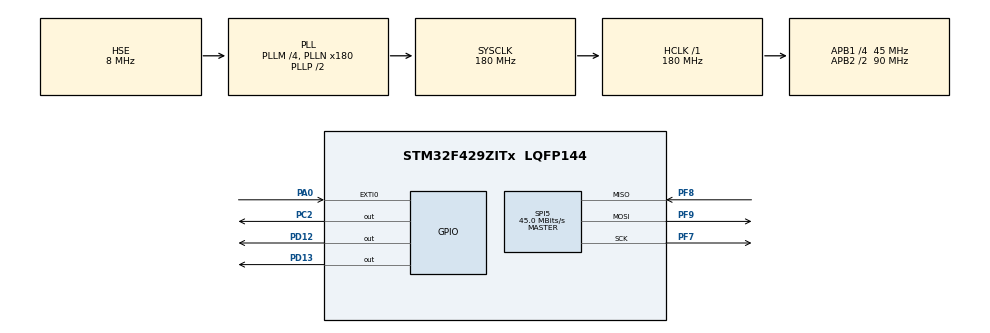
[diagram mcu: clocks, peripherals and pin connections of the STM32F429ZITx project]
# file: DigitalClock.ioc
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Mcu.Family=STM32F4
Mcu.Name=STM32F429ZITx
Mcu.Package=LQFP144
NVIC.EXTI0_IRQn=true\:0\:0\:false\:false\:true\:true\:true\:true
NVIC.PriorityGroup=NVIC_PRIORITYGROUP_4
PA0/WKUP.GPIO_ModeDefaultEXTI=GPIO_MODE_IT_RISING
PA0/WKUP.Signal=GPXTI0
PC2.Signal=GPIO_Output
PD12.Signal=GPIO_Output
PD13.Signal=GPIO_Output
PF7.Mode=Full_Duplex_Master
PF7.Signal=SPI5_SCK
PF8.Mode=Full_Duplex_Master
PF8.Signal=SPI5_MISO
PF9.Mode=Full_Duplex_Master
PF9.Signal=SPI5_MOSI
PH0/OSC_IN.Mode=HSE-External-Oscillator
PH0/OSC_IN.Signal=RCC_OSC_IN
PH1/OSC_OUT.Mode=HSE-External-Oscillator
PH1/OSC_OUT.Signal=RCC_OSC_OUT
ProjectManager.HeapSize=0x200
ProjectManager.StackSize=0x400
ProjectManager.TargetToolchain=CMake
RCC.48MHZClocksFreq_Value=90000000
RCC.AHBFreq_Value=180000000
RCC.APB1CLKDivider=RCC_HCLK_DIV4
RCC.APB1Freq_Value=45000000
RCC.APB1TimFreq_Value=90000000
RCC.APB2CLKDivider=RCC_HCLK_DIV2
RCC.APB2Freq_Value=90000000
RCC.APB2TimFreq_Value=180000000
RCC.CortexFreq_Value=180000000
RCC.HCLKFreq_Value=180000000
RCC.HSE_VALUE=8000000
RCC.HSI_VALUE=16000000
RCC.LSE_VALUE=32768
RCC.PLLM=4
RCC.PLLN=180
RCC.PLLSourceVirtual=RCC_PLLSOURCE_HSE
RCC.SYSCLKFreq_VALUE=180000000
RCC.SYSCLKSource=RCC_SYSCLKSOURCE_PLLCLK
RCC.VCOOutputFreq_Value=360000000
RTC.SynchPrediv=249
SPI5.CalculateBaudRate=45.0 MBits/s
SPI5.Direction=SPI_DIRECTION_2LINES
SPI5.Mode=SPI_MODE_MASTER
SPI5.VirtualType=VM_MASTER
VP_RTC_VS_RTC_Activate.Mode=RTC_Enabled
board=custom

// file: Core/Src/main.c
/* USER CODE BEGIN Header */
/**
  ******************************************************************************
  * @file           : main.c
  * @brief          : Main program body
  ******************************************************************************
  * @attention
  *
  * Copyright (c) 2026 STMicroelectronics.
  * All rights reserved.
  *
  * This software is licensed under terms that can be found in the LICENSE file
  * in the root directory of this software component.
  * If no LICENSE file comes with this software, it is provided AS-IS.
  *
  ******************************************************************************
  */
/* USER CODE END Header */
#include "main.h"

/* USER CODE BEGIN Includes */
#include <stdio.h>
#include "ILI9341_GFX.h"
#include "ILI9341_STM32_Driver.h"
#include "fonts.h"
/* USER CODE END Includes */

/* USER CODE BEGIN PD */
#define CLOCK_RUN_MS       10000U
#define CLOCK_SLEEP_MS     10000U
#define CLOCK_POLL_MS      20U
#define CLOCK_TEXT_X       12U
#define CLOCK_WEEKDAY_Y    40U
#define CLOCK_DATE_Y       112U
#define CLOCK_TIME_Y       176U
#define CLOCK_FONT_SCALE   2U
/* USER CODE END PD */

RTC_HandleTypeDef hrtc;

SPI_HandleTypeDef hspi5;

/* USER CODE BEGIN PV */
static volatile uint32_t lastActivityTick;

/* USER CODE END PV */

void SystemClock_Config(void);
static void MX_GPIO_Init(void);
static void MX_SPI5_Init(void);
static void MX_RTC_Init(void);

/* USER CODE BEGIN 0 */

static void Clock_SetInitialDateTime(void)
{
  RTC_DateTypeDef date = {0};
  RTC_TimeTypeDef time = {0};

  /* RTC_FORMAT_BIN requires decimal month 11, not RTC_MONTH_NOVEMBER (0x11). */
  date.Year = 26;
  date.Month = 11;
  date.Date = 6;
  date.WeekDay = RTC_WEEKDAY_FRIDAY;
  if (HAL_RTC_SetDate(&hrtc, &date, RTC_FORMAT_BIN) != HAL_OK)
  {
    Error_Handler();
  }

  time.Hours = 7;
  time.Minutes = 37;
  time.Seconds = 16;
  time.DayLightSaving = RTC_DAYLIGHTSAVING_NONE;
  time.StoreOperation = RTC_STOREOPERATION_RESET;
  if (HAL_RTC_SetTime(&hrtc, &time, RTC_FORMAT_BIN) != HAL_OK)
  {
    Error_Handler();
  }
}

static void Clock_DrawDate(const RTC_DateTypeDef *date)
{
  static const char * const weekdays[] = {
    "Monday", "Tuesday", "Wednesday", "Thursday",
    "Friday", "Saturday", "Sunday"
  };
  char text[11];

  if ((date->WeekDay < RTC_WEEKDAY_MONDAY) || (date->WeekDay > RTC_WEEKDAY_SUNDAY))
  {
    Error_Handler();
    return;
  }

  int length = snprintf(text, sizeof(text), "%u/%u/%04u",
                        (unsigned int)date->Date,
                        (unsigned int)date->Month,
                        2000U + (unsigned int)date->Year);
  if ((length < 0) || ((size_t)length >= sizeof(text)))
  {
    Error_Handler();
    return;
  }

  uint16_t lineHeight = (uint16_t)FONT4[2] * CLOCK_FONT_SCALE;
  ILI9341_DrawRectangle(0, CLOCK_WEEKDAY_Y - 8U, LCD_WIDTH, lineHeight + 16U, LIGHTGREY);
  ILI9341_DrawTextScaled(weekdays[date->WeekDay - RTC_WEEKDAY_MONDAY], FONT4,
                         70, CLOCK_WEEKDAY_Y, BLACK, LIGHTGREY, CLOCK_FONT_SCALE);
  ILI9341_DrawRectangle(0, CLOCK_DATE_Y, LCD_WIDTH, lineHeight, BLACK);
  ILI9341_DrawTextScaled(text, FONT4, 40, CLOCK_DATE_Y,
                         WHITE, BLACK, CLOCK_FONT_SCALE);
}

static void Clock_DrawTime(const RTC_TimeTypeDef *time, char previousText[9], uint8_t fullRedraw)
{
  char text[9];
  int length = snprintf(text, sizeof(text), "%02u:%02u:%02u",
                        (unsigned int)time->Hours,
                        (unsigned int)time->Minutes,
                        (unsigned int)time->Seconds);
  if ((length < 0) || ((size_t)length >= sizeof(text)))
  {
    Error_Handler();
    return;
  }

  uint16_t x = 55;
  for (uint8_t i = 0; i < 8; i++)
  {
    if (fullRedraw || text[i] != previousText[i])
    {
      ILI9341_DrawCharScaled(text[i], FONT4, x, CLOCK_TIME_Y,
                             WHITE, BLACK, CLOCK_FONT_SCALE);
      previousText[i] = text[i];
    }
    x += ILI9341_GetCharAdvance(text[i], FONT4, CLOCK_FONT_SCALE);
  }
  previousText[8] = '\0';
}

static void Clock_UpdateDisplay(uint8_t fullRedraw)
{
  static RTC_DateTypeDef previousDate;
  static RTC_TimeTypeDef previousTime;
  static char previousText[9];
  RTC_TimeTypeDef time = {0};
  RTC_DateTypeDef date = {0};

  /* Reading the date releases the RTC shadow registers after a time read. */
  if (HAL_RTC_GetTime(&hrtc, &time, RTC_FORMAT_BIN) != HAL_OK ||
      HAL_RTC_GetDate(&hrtc, &date, RTC_FORMAT_BIN) != HAL_OK)
  {
    Error_Handler();
  }

  if (fullRedraw || date.Date != previousDate.Date || date.Month != previousDate.Month ||
      date.Year != previousDate.Year || date.WeekDay != previousDate.WeekDay)
  {
    Clock_DrawDate(&date);
    previousDate = date;
  }
  if (fullRedraw || time.Hours != previousTime.Hours ||
      time.Minutes != previousTime.Minutes || time.Seconds != previousTime.Seconds)
  {
    Clock_DrawTime(&time, previousText, fullRedraw);
    previousTime = time;
  }
}

static void Clock_TryStandby(uint32_t activityTick)
{
  ILI9341_DrawRectangle(0, 0, LCD_WIDTH, LCD_HEIGHT, BLACK);
  ILI9341_DrawTextScaled("Standby..", FONT4, CLOCK_TEXT_X, CLOCK_DATE_Y,
                         WHITE, BLACK, CLOCK_FONT_SCALE);
  ILI9341_DrawText("Press PA0 to wake up", FONT3, CLOCK_TEXT_X, CLOCK_TIME_Y, WHITE, BLACK);

  /* A press during the SPI transfer or while arming WKUP must still count. */
  __disable_irq();
  __HAL_PWR_CLEAR_FLAG(PWR_FLAG_WU);
  HAL_PWR_EnableWakeUpPin(PWR_WAKEUP_PIN1);
  if (lastActivityTick == activityTick && HAL_GPIO_ReadPin(GPIOA, GPIO_PIN_0) == GPIO_PIN_RESET &&
      __HAL_GPIO_EXTI_GET_IT(GPIO_PIN_0) == RESET)
  {
    HAL_SuspendTick();
    SCB->ICSR = SCB_ICSR_PENDSTCLR_Msk;
    __DSB();
    HAL_PWR_EnterSTANDBYMode();
    /* A pending interrupt can prevent WFI from entering Standby. */
    CLEAR_BIT(SCB->SCR, SCB_SCR_SLEEPDEEP_Msk);
    HAL_ResumeTick();
  }
  HAL_PWR_DisableWakeUpPin(PWR_WAKEUP_PIN1);
  __enable_irq();
}

/* USER CODE END 0 */

int main(void)
{

  /* MCU Configuration--------------------------------------------------------*/

  /* Reset of all peripherals, Initializes the Flash interface and the Systick. */
  HAL_Init();

  /* Configure the system clock */
  SystemClock_Config();

  /* Initialize all configured peripherals */
  MX_GPIO_Init();
  MX_SPI5_Init();
  MX_RTC_Init();
  /* USER CODE BEGIN 2 */
  HAL_PWR_DisableWakeUpPin(PWR_WAKEUP_PIN1);
  if (__HAL_RTC_IS_CALENDAR_INITIALIZED(&hrtc) == 0U ||
      (__HAL_RCC_GET_FLAG(RCC_FLAG_PORRST) && !__HAL_PWR_GET_FLAG(PWR_FLAG_SB)))
  {
    Clock_SetInitialDateTime();
  }
  __HAL_PWR_CLEAR_FLAG(PWR_FLAG_SB);
  __HAL_RCC_CLEAR_RESET_FLAGS();

  ILI9341_Init();
  ILI9341_DrawRectangle(0, 0, LCD_WIDTH, LCD_HEIGHT, BLACK);
  Clock_UpdateDisplay(1);
  lastActivityTick = HAL_GetTick();
  uint32_t lastPoll = lastActivityTick;
  /* USER CODE END 2 */

  /* Infinite loop */
  /* USER CODE BEGIN WHILE */
  while (1)
  {
    uint32_t activityTick = lastActivityTick;
    uint32_t now = HAL_GetTick();
    uint32_t idle = now - activityTick;

    if (idle >= CLOCK_RUN_MS + CLOCK_SLEEP_MS && HAL_GPIO_ReadPin(GPIOA, GPIO_PIN_0) == GPIO_PIN_RESET)
    {
      Clock_TryStandby(activityTick);
      /* A successful Standby wake restarts main. A cancelled entry returns here. */
      ILI9341_DrawRectangle(0, 0, LCD_WIDTH, LCD_HEIGHT, BLACK);
      Clock_UpdateDisplay(1);
      lastPoll = HAL_GetTick();
      continue;
    }

    if (now - lastPoll >= CLOCK_POLL_MS)
    {
      Clock_UpdateDisplay(0);
      lastPoll = now;
    }

    if (idle >= CLOCK_RUN_MS)
    {
      HAL_PWR_EnterSLEEPMode(PWR_MAINREGULATOR_ON, PWR_SLEEPENTRY_WFI);
    }
    else
    {
      HAL_Delay(CLOCK_POLL_MS);
    }

    /* USER CODE END WHILE */

  }
}

void SystemClock_Config(void)
{
  RCC_OscInitTypeDef RCC_OscInitStruct = {0};
  RCC_ClkInitTypeDef RCC_ClkInitStruct = {0};

  /** Configure the main internal regulator output voltage
  */
  __HAL_RCC_PWR_CLK_ENABLE();
  __HAL_PWR_VOLTAGESCALING_CONFIG(PWR_REGULATOR_VOLTAGE_SCALE1);

  /** Initializes the RCC Oscillators according to the specified parameters
  * in the RCC_OscInitTypeDef structure.
  */
  RCC_OscInitStruct.OscillatorType = RCC_OSCILLATORTYPE_LSI|RCC_OSCILLATORTYPE_HSE;
  RCC_OscInitStruct.HSEState = RCC_HSE_ON;
  RCC_OscInitStruct.LSIState = RCC_LSI_ON;
  RCC_OscInitStruct.PLL.PLLState = RCC_PLL_ON;
  RCC_OscInitStruct.PLL.PLLSource = RCC_PLLSOURCE_HSE;
  RCC_OscInitStruct.PLL.PLLM = 4;
  RCC_OscInitStruct.PLL.PLLN = 180;
  RCC_OscInitStruct.PLL.PLLP = RCC_PLLP_DIV2;
  RCC_OscInitStruct.PLL.PLLQ = 4;
  if (HAL_RCC_OscConfig(&RCC_OscInitStruct) != HAL_OK)
  {
    Error_Handler();
  }

  /** Activate the Over-Drive mode
  */
  if (HAL_PWREx_EnableOverDrive() != HAL_OK)
  {
    Error_Handler();
  }

  /** Initializes the CPU, AHB and APB buses clocks
  */
  RCC_ClkInitStruct.ClockType = RCC_CLOCKTYPE_HCLK|RCC_CLOCKTYPE_SYSCLK
                              |RCC_CLOCKTYPE_PCLK1|RCC_CLOCKTYPE_PCLK2;
  RCC_ClkInitStruct.SYSCLKSource = RCC_SYSCLKSOURCE_PLLCLK;
  RCC_ClkInitStruct.AHBCLKDivider = RCC_SYSCLK_DIV1;
  RCC_ClkInitStruct.APB1CLKDivider = RCC_HCLK_DIV4;
  RCC_ClkInitStruct.APB2CLKDivider = RCC_HCLK_DIV2;

  if (HAL_RCC_ClockConfig(&RCC_ClkInitStruct, FLASH_LATENCY_5) != HAL_OK)
  {
    Error_Handler();
  }
}

static void MX_RTC_Init(void)
{

  /** Initialize RTC Only
  */
  hrtc.Instance = RTC;
  hrtc.Init.HourFormat = RTC_HOURFORMAT_24;
  hrtc.Init.AsynchPrediv = 127;
  hrtc.Init.SynchPrediv = 249;
  hrtc.Init.OutPut = RTC_OUTPUT_DISABLE;
  hrtc.Init.OutPutPolarity = RTC_OUTPUT_POLARITY_HIGH;
  hrtc.Init.OutPutType = RTC_OUTPUT_TYPE_OPENDRAIN;
  if (HAL_RTC_Init(&hrtc) != HAL_OK)
  {
    Error_Handler();
  }

}

static void MX_SPI5_Init(void)
{

  /* SPI5 parameter configuration*/
  hspi5.Instance = SPI5;
  hspi5.Init.Mode = SPI_MODE_MASTER;
  hspi5.Init.Direction = SPI_DIRECTION_2LINES;
  hspi5.Init.DataSize = SPI_DATASIZE_8BIT;
  hspi5.Init.CLKPolarity = SPI_POLARITY_LOW;
  hspi5.Init.CLKPhase = SPI_PHASE_1EDGE;
  hspi5.Init.NSS = SPI_NSS_SOFT;
  hspi5.Init.BaudRatePrescaler = SPI_BAUDRATEPRESCALER_2;
  hspi5.Init.FirstBit = SPI_FIRSTBIT_MSB;
  hspi5.Init.TIMode = SPI_TIMODE_DISABLE;
  hspi5.Init.CRCCalculation = SPI_CRCCALCULATION_DISABLE;
  hspi5.Init.CRCPolynomial = 10;
  if (HAL_SPI_Init(&hspi5) != HAL_OK)
  {
    Error_Handler();
  }

}

static void MX_GPIO_Init(void)
{
  GPIO_InitTypeDef GPIO_InitStruct = {0};

  /* GPIO Ports Clock Enable */
  __HAL_RCC_GPIOA_CLK_ENABLE();
  __HAL_RCC_GPIOF_CLK_ENABLE();
  __HAL_RCC_GPIOH_CLK_ENABLE();
  __HAL_RCC_GPIOC_CLK_ENABLE();
  __HAL_RCC_GPIOD_CLK_ENABLE();

  /*Configure GPIO pin Output Level */
  HAL_GPIO_WritePin(GPIOC, GPIO_PIN_2, GPIO_PIN_RESET);

  /*Configure GPIO pin Output Level */
  HAL_GPIO_WritePin(GPIOD, GPIO_PIN_12|GPIO_PIN_13, GPIO_PIN_RESET);

  /*Configure GPIO pin : PC2 */
  GPIO_InitStruct.Pin = GPIO_PIN_2;
  GPIO_InitStruct.Mode = GPIO_MODE_OUTPUT_PP;
  GPIO_InitStruct.Pull = GPIO_NOPULL;
  GPIO_InitStruct.Speed = GPIO_SPEED_FREQ_LOW;
  HAL_GPIO_Init(GPIOC, &GPIO_InitStruct);

  /*Configure GPIO pins : PD12 PD13 */
  GPIO_InitStruct.Pin = GPIO_PIN_12|GPIO_PIN_13;
  GPIO_InitStruct.Mode = GPIO_MODE_OUTPUT_PP;
  GPIO_InitStruct.Pull = GPIO_NOPULL;
  GPIO_InitStruct.Speed = GPIO_SPEED_FREQ_LOW;
  HAL_GPIO_Init(GPIOD, &GPIO_InitStruct);

  /* USER button on PA0/WKUP */
  GPIO_InitStruct.Pin = GPIO_PIN_0;
  GPIO_InitStruct.Mode = GPIO_MODE_IT_RISING;
  GPIO_InitStruct.Pull = GPIO_NOPULL;
  HAL_GPIO_Init(GPIOA, &GPIO_InitStruct);

  HAL_NVIC_SetPriority(EXTI0_IRQn, 0, 0);
  HAL_NVIC_EnableIRQ(EXTI0_IRQn);

}

/* USER CODE BEGIN 4 */
void HAL_GPIO_EXTI_Callback(uint16_t pin)
{
  if (pin == GPIO_PIN_0)
  {
    lastActivityTick = HAL_GetTick();
  }
}

/* USER CODE END 4 */

void Error_Handler(void)
{
  __disable_irq();
  while (1)
  {
  }
}
